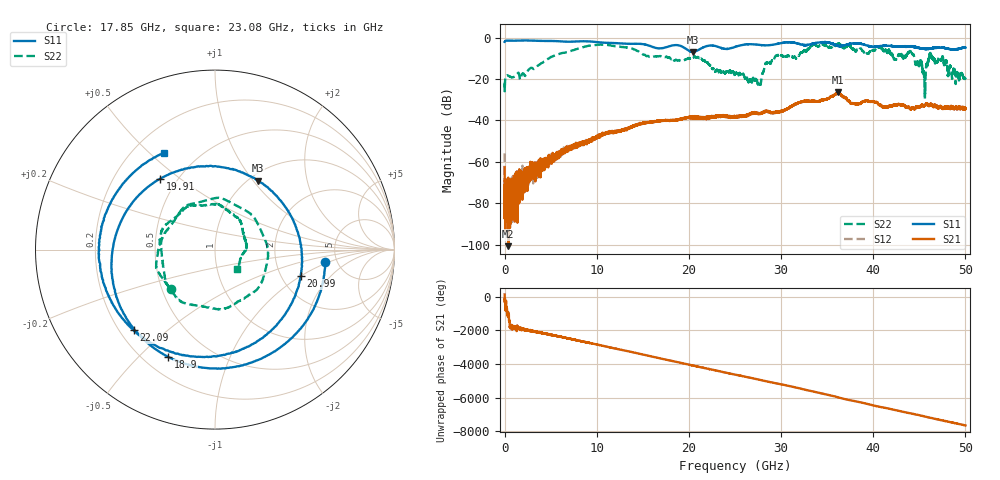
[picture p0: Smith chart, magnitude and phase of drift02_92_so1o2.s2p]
!Created with skrf (http://scikit-rf.org).
# Hz S RI R 50.0
!freq ReS11 ImS11 ReS21 ImS21 ReS12 ImS12 ReS22 ImS22
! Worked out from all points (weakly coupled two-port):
!   10001 points, 300 kHz to 50 GHz, reference 50 ohm
!   highest |S21| = -26.21 dB at 36.13 GHz (marker M1); lowest = -100.8 dB at 405.3 MHz (marker M2)
!   lowest |S11| = -6.9 dB at 20.41 GHz (marker M3), VSWR 2.65, Z = 54.8 + j52.8 ohm
!   |S11| at or under -10 dB: nowhere
!   |S22| runs from -30.0 to -2.7 dB; largest |S21 - S12| = 0.0051
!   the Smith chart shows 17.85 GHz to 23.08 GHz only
!   S11 on the Smith chart (normalised r, x): 17.85 GHz: 4.01, -0.89; 18.9 GHz: 0.29, -0.61; 19.91 GHz: 0.40, +0.42; 20.99 GHz: 2.54, -1.01; 22.09 GHz: 0.26, -0.39; 23.08 GHz: 0.32, +0.56
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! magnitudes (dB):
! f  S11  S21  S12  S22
! 300 kHz  -2.1  -62.7  -55.9  -21.8
! 405.3 MHz  -1.4  -100.8  -83.3  -18.4
! 8.335 GHz  -1.7  -50.6  -51.3  -4.7
! 16.67 GHz  -5.2  -40.3  -40.2  -9.0
! 17.85 GHz  -4.2  -40.0  -39.9  -9.6
! 18.9 GHz  -3.7  -39.6  -39.6  -10.8
! 19.91 GHz  -6.0  -38.6  -38.7  -9.9
! 20.41 GHz  -6.9  -38.3  -38.5  -9.8
! 20.99 GHz  -6.0  -38.4  -38.5  -9.3
! 22.09 GHz  -3.9  -39.0  -39.0  -12.4
! 23.08 GHz  -4.3  -38.2  -38.1  -15.7
! 25 GHz  -4.5  -38.2  -38.1  -17.8
! 27.63 GHz  -3.5  -36.8  -36.7  -21.2
! 29.55 GHz  -3.0  -35.9  -36.1  -8.7
! 33.34 GHz  -3.0  -30.7  -30.4  -3.8
! 36.13 GHz  -4.0  -26.2  -26.9  -3.1
! 41.67 GHz  -3.9  -33.3  -33.4  -6.0
! 44.15 GHz  -4.2  -34.4  -34.2  -7.1
! 45.52 GHz  -5.4  -32.7  -32.9  -18.8
! 46.19 GHz  -5.2  -32.0  -32.0  -8.0
! 47.35 GHz  -4.8  -33.6  -33.6  -11.0
! 50 GHz  -4.8  -34.2  -34.7  -19.9
